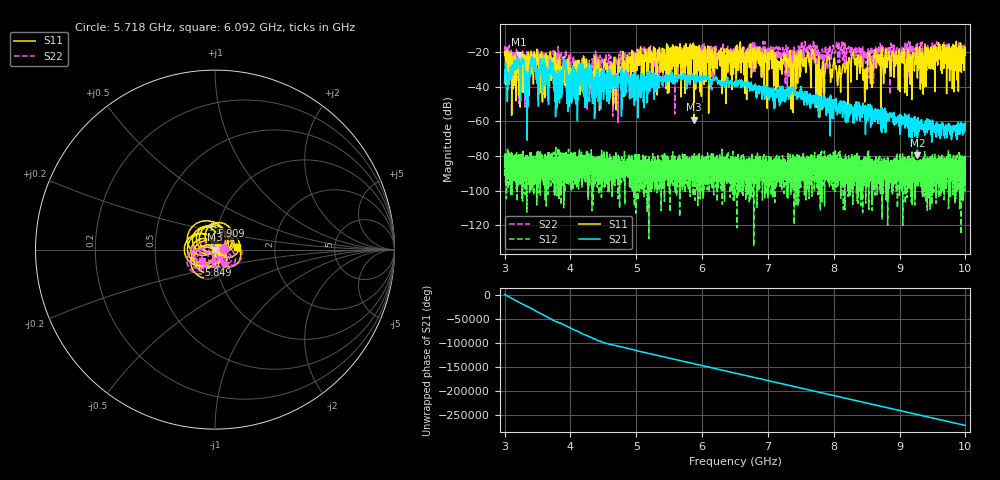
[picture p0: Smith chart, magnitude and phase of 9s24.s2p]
!Agilent Technologies,E8363B,MY43030572,A.06.04.32
!Agilent E8363B: A.06.04.32
!Date: Tuesday, June 07, 2011 09:18:55
!Correction: S11(Full 2 Port(1,2)) S21(Full 2 Port(1,2)) S12(Full 2 Port(1,2)) S22(Full 2 Port(1,2))
!S2P File: Measurements: S11, S21, S12, S22:
# Hz S  dB  R 50
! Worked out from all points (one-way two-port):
!   6401 points, 3 GHz to 10 GHz, reference 50 ohm
!   highest |S21| = -21.62 dB at 3.217 GHz (marker M1); lowest = -79.6 dB at 9.27 GHz (marker M2)
!   lowest |S11| = -59.1 dB at 5.879 GHz (marker M3), VSWR 1.00, Z = 50.1 - j0.0194 ohm
!   |S11| at or under -10 dB: start of sweep to end of sweep
!   |S22| runs from -60.8 to -13.4 dB; largest |S21 - S12| = 0.083
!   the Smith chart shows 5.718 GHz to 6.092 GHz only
!   S11 on the Smith chart (normalised r, x): 5.718 GHz: 1.08, -0.01; 5.849 GHz: 0.83, -0.15; 5.909 GHz: 0.93, +0.25; 6.092 GHz: 1.28, +0.04
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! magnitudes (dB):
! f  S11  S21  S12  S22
! 3 GHz  -21.8  -38.0  -83.4  -16.7
! 3.217 GHz  -31.1  -21.6  -92.2  -49.7
! 3.341 GHz  -24.6  -40.8  -83.2  -20.8
! 3.43 GHz  -23.3  -24.3  -89.1  -21.6
! 3.801 GHz  -28.1  -33.5  -87.2  -32.7
! 4.167 GHz  -30.4  -26.5  -79.1  -26.2
! 4.358 GHz  -34.1  -41.6  -87.1  -22.7
! 5.334 GHz  -19.6  -36.3  -85.3  -25.8
! 5.718 GHz  -28.6  -32.5  -87.2  -26.1
! 5.849 GHz  -18.2  -35.4  -86.5  -19.2
! 5.879 GHz  -59.1  -35.1  -81.4  -22.6
! 5.909 GHz  -17.5  -38.2  -92.5  -20.8
! 6.092 GHz  -18.0  -35.1  -79.5  -20.2
! 6.5 GHz  -23.1  -36.9  -90.5  -22.2
! 7.667 GHz  -20.9  -45.8  -86.9  -17.0
! 7.818 GHz  -39.1  -53.4  -96.2  -22.0
! 7.908 GHz  -22.3  -54.5  -95.2  -28.6
! 8.083 GHz  -28.6  -51.2  -88.8  -17.8
! 8.305 GHz  -21.4  -55.4  -84.6  -18.5
! 8.834 GHz  -20.5  -58.9  -93.5  -20.2
! 9.27 GHz  -32.8  -79.6  -94.3  -15.2
! 10 GHz  -21.8  -60.6  -94.0  -20.7
